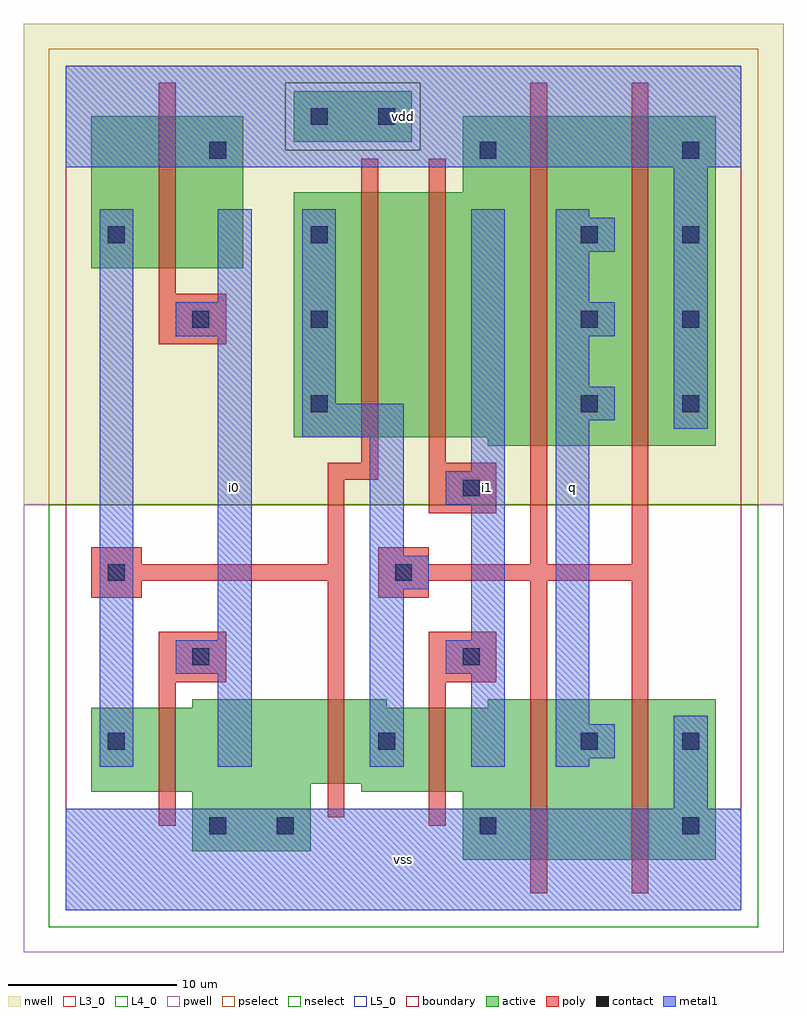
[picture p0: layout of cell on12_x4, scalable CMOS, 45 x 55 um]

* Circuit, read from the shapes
.subckt on12_x4 i0 i1 q vdd vss
M1 vss i0 n1 VSUBS nfet w=5u l=1u
M2 n2 n1 vss VSUBS nfet w=5u l=1u
M3 vss i1 n2 VSUBS nfet w=5u l=1u
M4 q n2 vss VSUBS nfet w=9.5u l=1u m=2
M5 vdd i0 n1 vdd pfet w=9u l=1u
M6 n3 n1 n2 vdd pfet w=14.5u l=1u
M7 vdd i1 n3 vdd pfet w=14.5u l=1u
M8 q n2 vdd vdd pfet w=19.5u l=1u m=2
.ends

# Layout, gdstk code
import gdstk
lib = gdstk.Library(unit=1e-6, precision=1e-09)
def R(c, l, rs):  # rectangles x0, y0, x1, y1
    for r in rs: c.add(gdstk.rectangle(r[:2], r[2:], *l))
def A(c, l, x, y, w, h, nx, ny, dx, dy):  # array of equal rectangles
    R(c, l, [(x+i*dx, y+j*dy, x+i*dx+w, y+j*dy+h) for i in range(nx) for j in range(ny)])
L3_0 = (3, 0)
L4_0 = (4, 0)
L5_0 = (5, 0)
contact = (25, 0)
pwell = (41, 0)
nwell = (42, 0)
active = (43, 0)
pselect = (44, 0)
nselect = (45, 0)
poly = (46, 0)
metal1 = (49, 0)
boundary = (63, 0)

on12_x4 = lib.new_cell('on12_x4')
R(on12_x4, L3_0, [(23.5,3,38.5,7), (7.5,3.5,14.5,7), (1.5,7,14.5,7.5), (17.5,7,38.5,7.5), (1.5,7.5,38.5,12), (7.5,12,19,12.5), (25,12,38.5,12.5)])
R(on12_x4, L4_0, [(25,27.5,38.5,28), (13.5,28,38.5,42.5), (1.5,38,10.5,47), (23.5,42.5,38.5,47)])
R(on12_x4, L5_0, [(13.5,45.5,20.5,48.5)])
A(on12_x4, contact, 12.5, 4.5, 1, 1, 3, 1, 12, 0)
A(on12_x4, contact, 14.5, 29.5, 1, 1, 1, 3, 0, 5)
A(on12_x4, contact, 30.5, 29.5, 1, 1, 1, 3, 0, 5)
A(on12_x4, contact, 36.5, 29.5, 1, 1, 1, 4, 0, 5)
R(on12_x4, contact, [(8.5,4.5,9.5,5.5), (2.5,9.5,3.5,10.5), (18.5,9.5,19.5,10.5), (30.5,9.5,31.5,10.5), (36.5,9.5,37.5,10.5), (7.5,14.5,8.5,15.5), (23.5,14.5,24.5,15.5), (2.5,19.5,3.5,20.5), (19.5,19.5,20.5,20.5), (23.5,24.5,24.5,25.5), (7.5,34.5,8.5,35.5), (2.5,39.5,3.5,40.5), (8.5,44.5,9.5,45.5), (24.5,44.5,25.5,45.5), (14.5,46.5,15.5,47.5), (18.5,46.5,19.5,47.5)])
R(on12_x4, pwell, [(-2.5,-2.5,42.5,24)])
R(on12_x4, nwell, [(-2.5,24,42.5,52.5)])
R(on12_x4, active, [(23.5,3,38.5,7), (7.5,3.5,14.5,7), (1.5,7,14.5,7.5), (17.5,7,38.5,7.5), (1.5,7.5,38.5,12), (7.5,12,19,12.5), (25,12,38.5,12.5), (25,27.5,38.5,28), (13.5,28,38.5,42.5), (1.5,38,10.5,47), (23.5,42.5,38.5,47), (13.5,45.5,20.5,48.5)])
R(on12_x4, pselect, [(-1,24,41,45), (-1,45,13,49), (21,45,41,49), (-1,49,41,51)])
R(on12_x4, nselect, [(-1,-1,41,24), (13,45,21,49)])
R(on12_x4, poly, [(27.5,1,28.5,19.5), (33.5,1,34.5,19.5), (5.5,5,6.5,13.5), (21.5,5,22.5,13.5), (15.5,5.5,16.5,19.5), (5.5,13.5,9.5,16.5), (21.5,13.5,25.5,16.5), (1.5,18.5,4.5,19.5), (18.5,18.5,21.5,19.5), (1.5,19.5,16.5,20.5), (18.5,19.5,34.5,20.5), (1.5,20.5,4.5,21.5), (15.5,20.5,16.5,25.5), (18.5,20.5,21.5,21.5), (27.5,20.5,28.5,49), (33.5,20.5,34.5,49), (21.5,23.5,25.5,26.5), (15.5,25.5,18.5,26.5), (17.5,26.5,18.5,44.5), (21.5,26.5,22.5,44.5), (5.5,33.5,9.5,36.5), (5.5,36.5,6.5,49)])
R(on12_x4, metal1, [(0,0,40,6), (0,0,40,6), (36,6,38,11.5), (36,6,38,11.5), (2,8.5,4,41.5), (2,8.5,4,41.5), (9,8.5,11,14), (9,8.5,11,14), (18,8.5,20,19), (18,8.5,20,19), (24,8.5,26,14), (24,8.5,26,14), (29,8.5,31,9), (29,8.5,31,9), (29,9,32.5,11), (29,9,32.5,11), (29,11,31,29), (29,11,31,29), (6.5,14,11,16), (6.5,14,11,16), (22.5,14,26,16), (22.5,14,26,16), (9,16,11,34), (9,16,11,34), (24,16,26,24), (24,16,26,24), (18,19,21.5,21), (18,19,21.5,21), (18,21,20,28), (18,21,20,28), (22.5,24,26,26), (22.5,24,26,26), (24,26,26,41.5), (24,26,26,41.5), (14,28,20,30), (14,28,20,30), (36,28.5,38,44), (36,28.5,38,44), (29,29,32.5,31), (29,29,32.5,31), (14,30,16,41.5), (14,30,16,41.5), (29,31,31,34), (29,31,31,34), (6.5,34,11,36), (6.5,34,11,36), (29,34,32.5,36), (29,34,32.5,36), (9,36,11,41.5), (9,36,11,41.5), (29,36,31,39), (29,36,31,39), (29,39,32.5,41), (29,39,32.5,41), (29,41,31,41.5), (29,41,31,41.5), (0,44,40,50), (0,44,40,50)])
R(on12_x4, boundary, [(0,0,40,50)])
on12_x4.add(gdstk.Label('i0', (10,25), layer=49, texttype=0))
on12_x4.add(gdstk.Label('vss', (20,3), layer=49, texttype=0))
on12_x4.add(gdstk.Label('i1', (25,25), layer=49, texttype=0))
on12_x4.add(gdstk.Label('vdd', (20,47), layer=49, texttype=0))
on12_x4.add(gdstk.Label('q', (30,25), layer=49, texttype=0))

lib.write_gds('on12_x4.gds')
